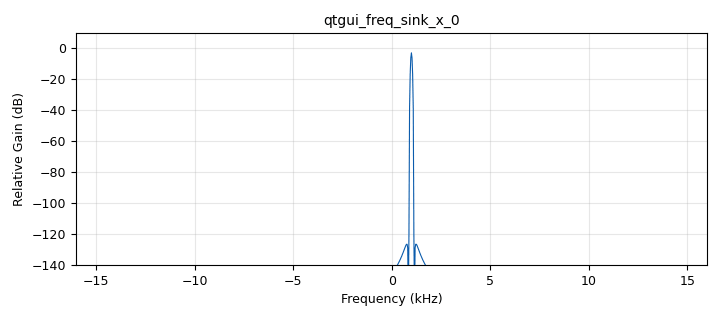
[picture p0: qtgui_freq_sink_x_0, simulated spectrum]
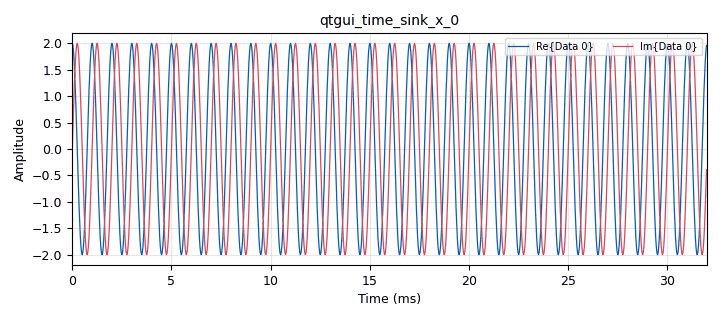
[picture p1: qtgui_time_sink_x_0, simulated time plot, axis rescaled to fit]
<?xml version='1.0' encoding='utf-8'?>
<?grc format='1' created='3.7.13'?>
<flow_graph>
<block>
<key>options</key>
<param><key>id</key><value>top_block</value></param>
<param><key>generate_options</key><value>qt_gui</value></param>
</block>
<block>
<key>variable_qtgui_range</key>
<param><key>id</key><value>freq</value></param>
<param><key>value</key><value>1e3</value></param>
<param><key>orient</key><value>Qt.Horizontal</value></param>
<param><key>start</key><value>-128e3</value></param>
<param><key>step</key><value>1000</value></param>
<param><key>stop</key><value>128e3</value></param>
</block>
<block>
<key>variable</key>
<param><key>id</key><value>samp_rate</value></param>
<param><key>value</key><value>32e3</value></param>
</block>
<block>
<key>analog_sig_source_x</key>
<param><key>id</key><value>analog_sig_source_x_0</value></param>
<param><key>amp</key><value>1</value></param>
<param><key>freq</key><value>freq</value></param>
<param><key>offset</key><value>0</value></param>
<param><key>type</key><value>complex</value></param>
<param><key>samp_rate</key><value>samp_rate</value></param>
<param><key>waveform</key><value>analog.GR_COS_WAVE</value></param>
</block>
<block>
<key>analog_sig_source_x</key>
<param><key>id</key><value>analog_sig_source_x_0_0</value></param>
<param><key>amp</key><value>1</value></param>
<param><key>freq</key><value>1e3</value></param>
<param><key>offset</key><value>0</value></param>
<param><key>type</key><value>complex</value></param>
<param><key>samp_rate</key><value>samp_rate</value></param>
<param><key>waveform</key><value>analog.GR_COS_WAVE</value></param>
</block>
<block>
<key>blocks_add_xx</key>
<param><key>id</key><value>blocks_add_xx_0</value></param>
<param><key>type</key><value>complex</value></param>
</block>
<block>
<key>blocks_throttle</key>
<param><key>id</key><value>blocks_throttle_0</value></param>
<param><key>samples_per_second</key><value>samp_rate</value></param>
<param><key>type</key><value>complex</value></param>
</block>
<block>
<key>qtgui_freq_sink_x</key>
<param><key>id</key><value>qtgui_freq_sink_x_0</value></param>
<param><key>bw</key><value>samp_rate</value></param>
<param><key>fc</key><value>0</value></param>
<param><key>fftsize</key><value>1024</value></param>
<param><key>showports</key><value>True</value></param>
<param><key>type</key><value>complex</value></param>
<param><key>wintype</key><value>firdes.WIN_BLACKMAN_hARRIS</value></param>
</block>
<block>
<key>qtgui_time_sink_x</key>
<param><key>id</key><value>qtgui_time_sink_x_0</value></param>
<param><key>color1</key><value>"blue"</value></param>
<param><key>label1</key><value></value></param>
<param><key>color2</key><value>"red"</value></param>
<param><key>label2</key><value></value></param>
<param><key>size</key><value>1024</value></param>
<param><key>srate</key><value>samp_rate</value></param>
<param><key>type</key><value>complex</value></param>
</block>
<block>
<key>wxgui_fftsink2</key>
<param><key>id</key><value>wxgui_fftsink2_0</value></param>
<param><key>avg_alpha</key><value>0</value></param>
<param><key>average</key><value>False</value></param>
<param><key>baseband_freq</key><value>0</value></param>
<param><key>_enabled</key><value>0</value></param>
<param><key>fft_size</key><value>1024</value></param>
<param><key>freqvar</key><value>None</value></param>
<param><key>peak_hold</key><value>False</value></param>
<param><key>ref_level</key><value>0</value></param>
<param><key>ref_scale</key><value>2.0</value></param>
<param><key>fft_rate</key><value>15</value></param>
<param><key>samp_rate</key><value>samp_rate</value></param>
<param><key>title</key><value>FFT Plot</value></param>
<param><key>type</key><value>complex</value></param>
<param><key>win</key><value>None</value></param>
<param><key>y_divs</key><value>10</value></param>
<param><key>y_per_div</key><value>10</value></param>
</block>
<connection><source_block_id>analog_sig_source_x_0</source_block_id><sink_block_id>blocks_add_xx_0</sink_block_id><source_key>0</source_key><sink_key>1</sink_key></connection>
<connection><source_block_id>analog_sig_source_x_0_0</source_block_id><sink_block_id>blocks_add_xx_0</sink_block_id><source_key>0</source_key><sink_key>0</sink_key></connection>
<connection><source_block_id>blocks_add_xx_0</source_block_id><sink_block_id>blocks_throttle_0</sink_block_id><source_key>0</source_key><sink_key>0</sink_key></connection>
<connection><source_block_id>blocks_throttle_0</source_block_id><sink_block_id>qtgui_freq_sink_x_0</sink_block_id><source_key>0</source_key><sink_key>0</sink_key></connection>
<connection><source_block_id>blocks_throttle_0</source_block_id><sink_block_id>qtgui_time_sink_x_0</sink_block_id><source_key>0</source_key><sink_key>0</sink_key></connection>
<connection><source_block_id>blocks_throttle_0</source_block_id><sink_block_id>wxgui_fftsink2_0</sink_block_id><source_key>0</source_key><sink_key>0</sink_key></connection>
</flow_graph>
